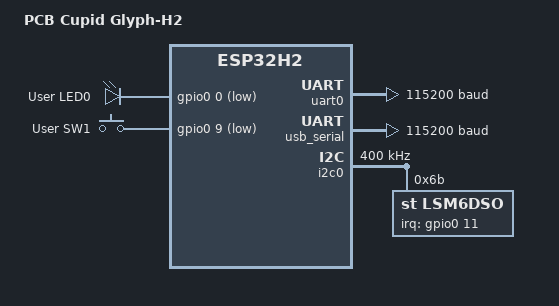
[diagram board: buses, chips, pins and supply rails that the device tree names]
/*
 * Copyright (c) 2025 Espressif Systems (Shanghai) Co., Ltd.
 *
 * SPDX-License-Identifier: Apache-2.0
 */

/dts-v1/;

#include <espressif/esp32h2/esp32h2_mini_h4.dtsi>
#include "glyph_h2-pinctrl.dtsi"
#include <zephyr/dt-bindings/input/input-event-codes.h>
#include <espressif/partitions_0x0_default.dtsi>

/ {
	model = "PCB Cupid Glyph-H2";
	compatible = "pcbcupid,glyph_h2";

	chosen {
		zephyr,sram = &sramhp;
		zephyr,console = &usb_serial;
		zephyr,shell-uart = &usb_serial;
		zephyr,flash = &flash0;
		zephyr,code-partition = &slot0_partition;
	};

	aliases {
		my-i2c = &i2c0;
		i2c-node = &i2c0;
		sw0 = &user_button1;
		watchdog0 = &wdt0;
		led0 = &red_led;
	};

	leds: leds {
		compatible = "gpio-leds";

		red_led: led_0 {
			gpios = <&gpio0 0 GPIO_ACTIVE_LOW>;
			label = "User LED0";
		};
	};

	gpio_keys {
		compatible = "gpio-keys";

		user_button1: button_1 {
			label = "User SW1";
			gpios = <&gpio0 9 (GPIO_PULL_UP | GPIO_ACTIVE_LOW)>;
			zephyr,code = <INPUT_KEY_0>;
		};
	};
};

&uart0 {
	status = "okay";
	current-speed = <115200>;
	pinctrl-0 = <&uart0_default>;
	pinctrl-names = "default";
};

&gpio0 {
	status = "okay";
};

&usb_serial {
	current-speed = <115200>;
	status = "okay";
};

&i2c0 {
	clock-frequency = <I2C_BITRATE_FAST>;
	pinctrl-0 = <&i2c0_default>;
	pinctrl-names = "default";
	status = "okay";
	
	lsm6dso: lsm6dso@6b {
		compatible = "st,lsm6dso";
		reg = <0x6b>;
		irq-gpios = <&gpio0 11 GPIO_ACTIVE_HIGH>;
		status = "okay";

	};
};

&i2c1 {
	clock-frequency = <I2C_BITRATE_FAST>;
	pinctrl-0 = <&i2c1_default>;
	pinctrl-names = "default";
	status = "disabled";
};
